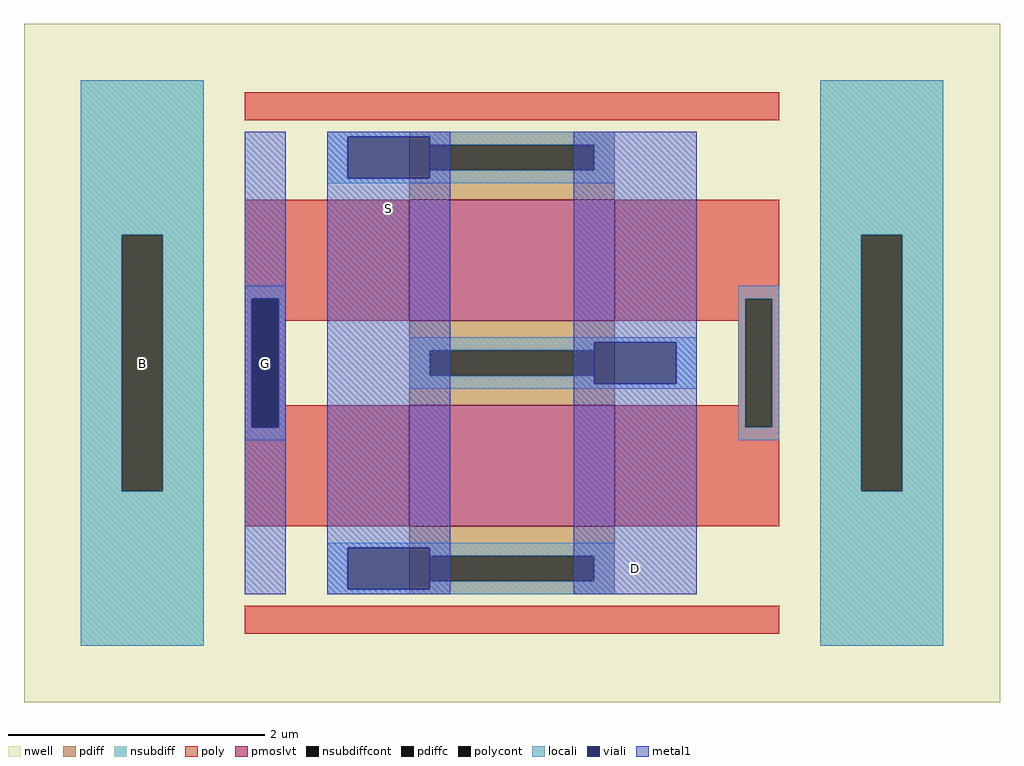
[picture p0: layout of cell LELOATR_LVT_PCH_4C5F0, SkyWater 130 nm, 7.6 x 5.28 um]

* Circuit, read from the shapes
.subckt LELOATR_LVT_PCH_4C5F0 D G S B
XM1 D G S B sky130_fd_pr__pfet_01v8_lvt w=1.6 l=0.94 m=2
.ends

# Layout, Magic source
magic
tech sky130A
magscale 1 2
<< nwell >>
rect -184 -128 1336 928
<< pmoslvt >>
rect 416 466 736 654
rect 416 146 736 334
<< pdiff >>
rect 416 740 736 760
rect 416 700 448 740
rect 704 700 736 740
rect 416 654 736 700
rect 416 420 736 466
rect 416 380 448 420
rect 704 380 736 420
rect 416 334 736 380
rect 416 100 736 146
rect 416 60 448 100
rect 704 60 736 100
rect 416 40 736 60
<< pdiffc >>
rect 448 700 704 740
rect 448 380 704 420
rect 448 60 704 100
<< nsubdiff >>
rect -96 600 96 840
rect -96 200 -32 600
rect 32 200 96 600
rect -96 -40 96 200
rect 1056 600 1248 840
rect 1056 200 1120 600
rect 1184 200 1248 600
rect 1056 -40 1248 200
<< nsubdiffcont >>
rect -32 200 32 600
rect 1120 200 1184 600
<< poly >>
rect 160 778 992 822
rect 160 500 416 654
rect 160 300 171 500
rect 213 466 416 500
rect 736 500 992 654
rect 736 466 939 500
rect 213 334 224 466
rect 928 334 939 466
rect 213 300 416 334
rect 160 146 416 300
rect 736 300 939 334
rect 981 300 992 500
rect 736 146 992 300
rect 160 -22 992 22
<< polycont >>
rect 171 300 213 500
rect 939 300 981 500
<< locali >>
rect -96 600 96 840
rect 288 752 736 760
rect 288 688 320 752
rect 448 740 736 752
rect 704 700 736 740
rect 448 688 736 700
rect 288 680 736 688
rect -96 200 -32 600
rect 32 200 96 600
rect 1056 600 1248 840
rect 160 500 224 520
rect 160 300 171 500
rect 213 300 224 500
rect 928 500 992 520
rect 416 432 864 440
rect 416 420 704 432
rect 416 380 448 420
rect 416 368 704 380
rect 832 368 864 432
rect 416 360 864 368
rect 160 280 224 300
rect 928 300 939 500
rect 981 300 992 500
rect 928 280 992 300
rect -96 -40 96 200
rect 1056 200 1120 600
rect 1184 200 1248 600
rect 288 112 736 120
rect 288 48 320 112
rect 448 100 736 112
rect 704 60 736 100
rect 448 48 736 60
rect 288 40 736 48
rect 1056 -40 1248 200
<< viali >>
rect 320 688 448 752
rect 171 300 213 500
rect 704 368 832 432
rect 320 48 448 112
<< metal1 >>
rect 160 500 224 760
rect 160 300 171 500
rect 213 300 224 500
rect 160 40 224 300
rect 288 752 480 760
rect 288 688 320 752
rect 448 688 480 752
rect 288 112 480 688
rect 288 48 320 112
rect 448 48 480 112
rect 288 40 480 48
rect 672 432 864 760
rect 672 368 704 432
rect 832 368 864 432
rect 672 40 864 368
<< labels >>
flabel metal1 s 160 360 224 440 0 FreeSans 400 0 0 0 G
port 2 nsew signal bidirectional
flabel metal1 s 288 600 480 680 0 FreeSans 400 0 0 0 S
port 3 nsew signal bidirectional
flabel locali s -96 360 96 440 0 FreeSans 400 0 0 0 B
port 4 nsew signal bidirectional
flabel metal1 s 672 40 864 120 0 FreeSans 400 0 0 0 D
port 1 nsew signal bidirectional
<< properties >>
string FIXED_BBOX -184 -128 1336 928
<< end >>
